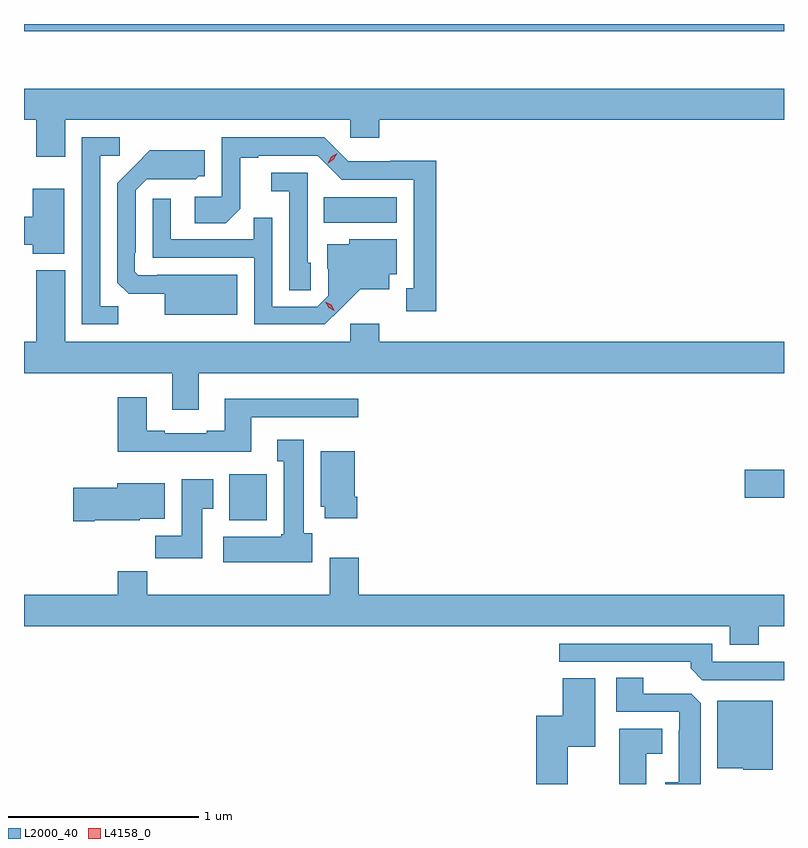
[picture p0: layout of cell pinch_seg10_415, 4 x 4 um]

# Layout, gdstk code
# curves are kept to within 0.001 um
import gdstk
lib = gdstk.Library(unit=1e-6, precision=1e-09)
def R(c, l, rs):  # rectangles x0, y0, x1, y1
    for r in rs: c.add(gdstk.rectangle(r[:2], r[2:], *l))
def P(c, l, *ps):  # polygons
    for p in ps: c.add(gdstk.Polygon(p, *l))
L2000_40 = (2000, 40)
L4158_0 = (4158, 0)

pinch_seg10_415 = lib.new_cell('pinch_seg10_415')
R(pinch_seg10_415, L2000_40, [(362.867,1310.198,363.064,1310.44), (365.58,1310.315,365.786,1310.462), (363.364,1311.764,363.748,1311.898), (361.786,1312.77,365.786,1312.809)])
P(pinch_seg10_415, L2000_40, [(362.002,1312.304),(363.504,1312.304),(363.504,1312.211),(363.656,1312.211),(363.656,1312.304),(365.786,1312.304),(365.786,1312.468),(361.786,1312.468),(361.786,1312.304),(361.85,1312.304),(361.85,1312.11),(362.002,1312.11)],
  [(363.955,1312.088),(363.714,1312.088),(363.714,1312.086),(363.492,1312.086),(363.366,1312.212),(362.826,1312.212),(362.826,1311.9),(362.685,1311.9),(362.685,1311.76),(362.849,1311.76),(362.925,1311.836),(362.925,1312.104),(363.019,1312.104),(363.019,1312.116),(363.333,1312.116),(363.459,1311.99),(363.836,1311.99),(363.836,1311.417),(363.797,1311.417),(363.797,1311.297),(363.955,1311.297)],
  [(362.283,1311.323),(362.187,1311.323),(362.187,1312.116),(362.29,1312.116),(362.29,1312.212),(362.091,1312.212),(362.091,1311.228),(362.283,1311.228)],
  [(362.908,1311.49),(362.488,1311.49),(362.488,1311.486),(362.388,1311.486),(362.37,1311.504),(362.37,1311.604),(362.373,1311.604),(362.373,1311.933),(362.433,1311.993),(362.69,1311.992),(362.706,1312.008),(362.737,1312.008),(362.737,1312.144),(362.449,1312.144),(362.277,1311.97),(362.277,1311.448),(362.336,1311.389),(362.528,1311.389),(362.528,1311.278),(362.908,1311.278)],
  [(363.294,1311.552),(363.279,1311.552),(363.279,1312.026),(363.087,1312.026),(363.087,1311.929),(363.183,1311.929),(363.183,1311.409),(363.294,1311.409)],
  [(361.999,1311.943),(361.832,1311.943),(361.832,1311.794),(361.786,1311.794),(361.786,1311.647),(361.832,1311.647),(361.832,1311.599),(361.999,1311.599)],
  [(363.454,1311.311),(363.557,1311.413),(363.709,1311.413),(363.709,1311.492),(363.748,1311.492),(363.748,1311.676),(363.498,1311.676),(363.498,1311.649),(363.383,1311.649),(363.383,1311.52),(363.387,1311.52),(363.387,1311.378),(363.33,1311.321),(363.093,1311.321),(363.093,1311.788),(362.995,1311.788),(362.995,1311.675),(362.559,1311.675),(362.559,1311.889),(362.463,1311.889),(362.463,1311.579),(362.997,1311.579),(362.997,1311.228),(363.37,1311.228)],
  [(362.707,1310.972),(365.786,1310.972),(365.786,1311.136),(363.656,1311.136),(363.656,1311.232),(363.504,1311.232),(363.504,1311.136),(362.002,1311.136),(362.002,1311.514),(361.85,1311.514),(361.85,1311.136),(361.786,1311.136),(361.786,1310.972),(362.567,1310.972),(362.567,1310.778),(362.707,1310.778)],
  [(362.983,1310.739),(363.544,1310.739),(363.544,1310.836),(362.843,1310.836),(362.843,1310.668),(362.747,1310.668),(362.747,1310.655),(362.527,1310.655),(362.527,1310.668),(362.431,1310.668),(362.431,1310.845),(362.279,1310.845),(362.279,1310.558),(362.983,1310.558)],
  [(363.304,1310.13),(363.259,1310.13),(363.259,1310.62),(363.119,1310.62),(363.119,1310.507),(363.152,1310.507),(363.152,1310.124),(363.139,1310.124),(363.139,1310.11),(362.835,1310.11),(362.835,1309.976),(363.304,1309.976)],
  [(363.539,1310.32),(363.526,1310.32),(363.526,1310.56),(363.347,1310.56),(363.347,1310.268),(363.368,1310.268),(363.368,1310.208),(363.539,1310.208)],
  [(362.725,1310.257),(362.782,1310.257),(362.782,1310.413),(362.615,1310.413),(362.615,1310.116),(362.476,1310.116),(362.476,1309.998),(362.725,1309.998)],
  [(362.158,1310.198),(362.394,1310.198),(362.394,1310.204),(362.527,1310.204),(362.527,1310.392),(362.276,1310.392),(362.276,1310.369),(362.046,1310.369),(362.046,1310.191),(362.158,1310.191)],
  [(365.654,1309.64),(365.786,1309.64),(365.786,1309.804),(363.548,1309.804),(363.548,1309.999),(363.395,1309.999),(363.395,1309.804),(362.435,1309.804),(362.435,1309.928),(362.279,1309.928),(362.279,1309.804),(361.786,1309.804),(361.786,1309.64),(365.501,1309.64),(365.501,1309.541),(365.654,1309.541)],
  [(365.786,1309.452),(365.409,1309.452),(365.409,1309.548),(364.602,1309.548),(364.602,1309.452),(365.294,1309.452),(365.294,1309.418),(365.355,1309.356),(365.786,1309.356)],
  [(365.347,1309.235),(365.298,1309.284),(365.044,1309.284),(365.044,1309.367),(364.904,1309.367),(364.904,1309.188),(365.235,1309.188),(365.235,1309.091),(365.231,1309.091),(365.231,1308.817),(365.162,1308.817),(365.162,1308.809),(365.347,1308.809)],
  [(364.648,1309.006),(364.792,1309.006),(364.792,1309.366),(364.622,1309.366),(364.622,1309.168),(364.481,1309.168),(364.481,1308.809),(364.648,1308.809)],
  [(365.728,1309.246),(365.435,1309.246),(365.435,1308.893),(365.571,1308.893),(365.571,1308.884),(365.728,1308.884)],
  [(365.062,1308.968),(365.146,1308.968),(365.146,1309.099),(364.919,1309.099),(364.919,1308.809),(365.062,1308.809)])
P(pinch_seg10_415, L4158_0, [(363.385,1312.077),(363.385,1312.077),(363.403,1312.11),(363.434,1312.129),(363.435,1312.129),(363.435,1312.129),(363.417,1312.096),(363.386,1312.077)],
  [(363.42,1311.301),(363.389,1311.316),(363.371,1311.346),(363.371,1311.346),(363.372,1311.346),(363.402,1311.331),(363.42,1311.302),(363.42,1311.301)])

lib.write_gds('pinch_seg10_415.gds')
